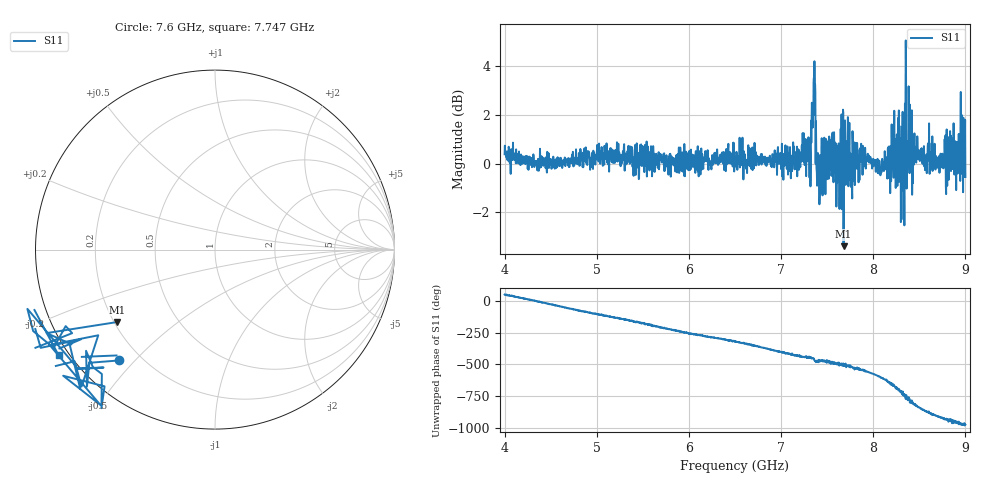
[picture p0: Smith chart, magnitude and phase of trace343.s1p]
! Created with skrf 1.8.0 (http://scikit-rf.org).
# Hz S RI R 50.0
!freq ReS11 ImS11
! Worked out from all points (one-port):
!   1601 points, 4 GHz to 9 GHz, reference 50 ohm
!   lowest |S11| = -3.4 dB at 7.678 GHz (marker M1), VSWR 5.19, Z = 10.7 - j15.9 ohm
!   |S11| at or under -10 dB: nowhere
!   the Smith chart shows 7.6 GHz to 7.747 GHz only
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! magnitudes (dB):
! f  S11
! 4 GHz  0.4
! 4.625 GHz  -0.2
! 5.25 GHz  0.1
! 5.875 GHz  0.4
! 6.5 GHz  0.1
! 7.125 GHz  0.1
! 7.297 GHz  1.1
! 7.35 GHz  2.0
! 7.412 GHz  -0.3
! 7.509 GHz  0.3
! 7.609 GHz  -0.8
! 7.65 GHz  0.7
! 7.678 GHz  -3.4
! 7.75 GHz  0.1
! 7.775 GHz  1.3
! 8.097 GHz  0.2
! 8.253 GHz  0.4
! 8.312 GHz  1.5
! 8.334 GHz  -0.8
! 8.356 GHz  3.6
! 8.366 GHz  -0.6
! 8.375 GHz  0.9
! 8.384 GHz  3.2
! 8.419 GHz  2.2
! 8.562 GHz  -0.3
! 8.9 GHz  -1.1
! 8.972 GHz  0.7
! 9 GHz  -0.6
